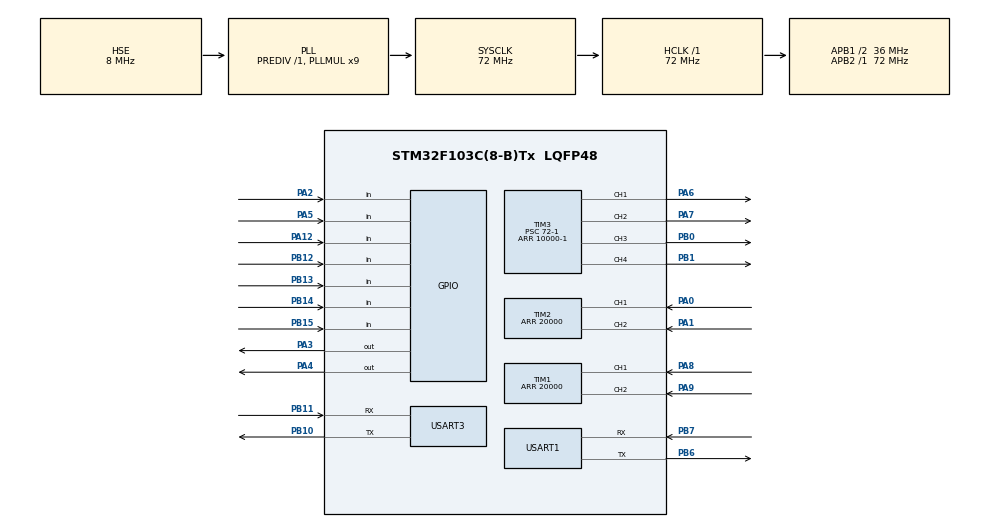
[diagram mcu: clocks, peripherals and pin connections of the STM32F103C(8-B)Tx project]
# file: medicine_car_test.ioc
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Dma.Request0=USART1_RX
Dma.Request1=USART3_RX
Dma.USART1_RX.0.Direction=DMA_PERIPH_TO_MEMORY
Dma.USART1_RX.0.Instance=DMA1_Channel5
Dma.USART1_RX.0.MemDataAlignment=DMA_MDATAALIGN_BYTE
Dma.USART1_RX.0.MemInc=DMA_MINC_ENABLE
Dma.USART1_RX.0.Mode=DMA_NORMAL
Dma.USART1_RX.0.PeriphDataAlignment=DMA_PDATAALIGN_BYTE
Dma.USART1_RX.0.PeriphInc=DMA_PINC_DISABLE
Dma.USART1_RX.0.Priority=DMA_PRIORITY_LOW
Dma.USART3_RX.1.Direction=DMA_PERIPH_TO_MEMORY
Dma.USART3_RX.1.Instance=DMA1_Channel3
Dma.USART3_RX.1.MemDataAlignment=DMA_MDATAALIGN_BYTE
Dma.USART3_RX.1.MemInc=DMA_MINC_ENABLE
Dma.USART3_RX.1.Mode=DMA_NORMAL
Dma.USART3_RX.1.PeriphDataAlignment=DMA_PDATAALIGN_BYTE
Dma.USART3_RX.1.PeriphInc=DMA_PINC_DISABLE
Dma.USART3_RX.1.Priority=DMA_PRIORITY_LOW
Mcu.Family=STM32F1
Mcu.Name=STM32F103C(8-B)Tx
Mcu.Package=LQFP48
NVIC.DMA1_Channel3_IRQn=true\:0\:0\:false\:false\:true\:true\:true
NVIC.DMA1_Channel5_IRQn=true\:0\:0\:false\:false\:true\:false\:true
NVIC.PriorityGroup=NVIC_PRIORITYGROUP_4
NVIC.TIM2_IRQn=true\:0\:0\:true\:false\:true\:true\:true
NVIC.TIM4_IRQn=true\:1\:0\:true\:false\:true\:true\:true
NVIC.USART1_IRQn=true\:0\:0\:true\:false\:true\:true\:true
NVIC.USART3_IRQn=true\:0\:0\:true\:false\:true\:true\:true
PA0-WKUP.GPIO_PuPd=GPIO_PULLUP
PA0-WKUP.Signal=S_TIM2_CH1_ETR
PA1.GPIO_PuPd=GPIO_PULLUP
PA1.Signal=S_TIM2_CH2
PA12.GPIO_PuPd=GPIO_PULLUP
PA12.Signal=GPIO_Input
PA13.Mode=Serial_Wire
PA13.Signal=SYS_JTMS-SWDIO
PA14.Mode=Serial_Wire
PA14.Signal=SYS_JTCK-SWCLK
PA2.Signal=GPIO_Input
PA3.Signal=GPIO_Output
PA4.Signal=GPIO_Output
PA5.Signal=GPIO_Input
PA6.Signal=S_TIM3_CH1
PA7.Signal=S_TIM3_CH2
PA8.GPIO_PuPd=GPIO_PULLUP
PA8.Signal=S_TIM1_CH1
PA9.GPIO_PuPd=GPIO_PULLUP
PA9.Signal=S_TIM1_CH2
PB0.Signal=S_TIM3_CH3
PB1.Signal=S_TIM3_CH4
PB10.Mode=Asynchronous
PB10.Signal=USART3_TX
PB11.Mode=Asynchronous
PB11.Signal=USART3_RX
PB12.Signal=GPIO_Input
PB13.Signal=GPIO_Input
PB14.Signal=GPIO_Input
PB15.Signal=GPIO_Input
PB6.Mode=Asynchronous
PB6.Signal=USART1_TX
PB7.Mode=Asynchronous
PB7.Signal=USART1_RX
PD0-OSC_IN.Mode=HSE-External-Oscillator
PD0-OSC_IN.Signal=RCC_OSC_IN
PD1-OSC_OUT.Mode=HSE-External-Oscillator
PD1-OSC_OUT.Signal=RCC_OSC_OUT
ProjectManager.HeapSize=0x200
ProjectManager.StackSize=0x400
ProjectManager.TargetToolchain=MDK-ARM V5.32
RCC.AHBFreq_Value=72000000
RCC.APB1CLKDivider=RCC_HCLK_DIV2
RCC.APB1Freq_Value=36000000
RCC.APB1TimFreq_Value=72000000
RCC.APB2Freq_Value=72000000
RCC.APB2TimFreq_Value=72000000
RCC.HCLKFreq_Value=72000000
RCC.PLLMUL=RCC_PLL_MUL9
RCC.PLLSourceVirtual=RCC_PLLSOURCE_HSE
RCC.SYSCLKFreq_VALUE=72000000
RCC.SYSCLKSource=RCC_SYSCLKSOURCE_PLLCLK
RCC.USBFreq_Value=72000000
SH.S_TIM1_CH1.0=TIM1_CH1,Encoder_Interface
SH.S_TIM1_CH2.0=TIM1_CH2,Encoder_Interface
SH.S_TIM2_CH1_ETR.0=TIM2_CH1,Encoder_Interface
SH.S_TIM2_CH2.0=TIM2_CH2,Encoder_Interface
SH.S_TIM3_CH1.0=TIM3_CH1,PWM Generation1 CH1
SH.S_TIM3_CH2.0=TIM3_CH2,PWM Generation2 CH2
SH.S_TIM3_CH3.0=TIM3_CH3,PWM Generation3 CH3
SH.S_TIM3_CH4.0=TIM3_CH4,PWM Generation4 CH4
TIM1.EncoderMode=TIM_ENCODERMODE_TI12
TIM1.Period=20000
TIM2.EncoderMode=TIM_ENCODERMODE_TI12
TIM2.Period=20000
TIM3.AutoReloadPreload=TIM_AUTORELOAD_PRELOAD_DISABLE
TIM3.Channel-PWM\ Generation1\ CH1=TIM_CHANNEL_1
TIM3.Channel-PWM\ Generation2\ CH2=TIM_CHANNEL_2
TIM3.Channel-PWM\ Generation3\ CH3=TIM_CHANNEL_3
TIM3.Channel-PWM\ Generation4\ CH4=TIM_CHANNEL_4
TIM3.Period=10000-1
TIM3.Prescaler=72-1
TIM4.Period=10000
TIM4.Prescaler=720-1
USART1.VirtualMode=VM_ASYNC
USART3.VirtualMode=VM_ASYNC
VP_TIM3_VS_ClockSourceINT.Mode=Internal
VP_TIM4_VS_ClockSourceINT.Mode=Internal
board=custom

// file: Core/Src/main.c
/* USER CODE BEGIN Header */
/**
 ******************************************************************************
 * @file           : main.c
 * @brief          : Main program body
 ******************************************************************************
 * @attention
 *
 * Copyright (c) 2024 STMicroelectronics.
 * All rights reserved.
 *
 * This software is licensed under terms that can be found in the LICENSE file
 * in the root directory of this software component.
 * If no LICENSE file comes with this software, it is provided AS-IS.
 *
 ******************************************************************************
 */
/* USER CODE END Header */
#include "main.h"
#include "dma.h"
#include "tim.h"
#include "usart.h"
#include "gpio.h"

/* USER CODE BEGIN Includes */
#include "encoder.h"
#include <stdio.h>
#include "pid.h"
#include "led.h"
#include "medicine.h"
#include "string.h"
/* USER CODE END Includes */

/* USER CODE BEGIN PM */
// Motor motor1;
/* USER CODE END PM */

/* USER CODE BEGIN PV */

float velocity_set = 1500;
Motor motor1, motor2;     // 左右电机
uint8_t receive_buff[50]; // 从树莓派（串�?1）接受的指令
uint8_t USART1_buffer[50];
uint8_t rx_buffer[50]; // 从陀螺仪（串�?3）接受的角度数据
uint8_t USART3_buffer[50];

float foward_distance = 0;
float left_angle = 0;
float back_angle = 0;
float right_angle = 0;
float Target_Angle = 0;
float error = 0;   // 巡线误差

int button_flag = 0;
int last_flag_button = 0;
int medicine_flag=0;
int last_flag=0;
uint32_t count;

char last_order = '0';
int s1, s2, s3, s4; // 灰度传感器参数

// 901S初始化指令
uint8_t data1[] = {0xFF, 0xAA, 0x69, 0x88, 0xB5};
uint8_t data2[] = {0xFF, 0xAA, 0x01, 0x04, 0x00};
uint8_t data3[] = {0xFF, 0xAA, 0x00, 0x00, 0x00};

/* USER CODE END PV */

void SystemClock_Config(void);

/* USER CODE BEGIN 0 */
int fputc(int ch, FILE *f) // printf
{
  HAL_UART_Transmit(&huart1, (uint8_t *)&ch, 1, 0xffff);
  return ch;
}

int fgetc(FILE *f) // getchar
{
  uint8_t ch = 0;
  HAL_UART_Receive(&huart1, &ch, 1, 0xffff);
  return ch;
}
/* USER CODE END 0 */

int main(void)
{

  /* MCU Configuration--------------------------------------------------------*/

  /* Reset of all peripherals, Initializes the Flash interface and the Systick. */
  HAL_Init();

  /* Configure the system clock */
  SystemClock_Config();

  /* Initialize all configured peripherals */
  MX_GPIO_Init();
  MX_TIM2_Init();
  MX_TIM3_Init();
  MX_TIM4_Init();
  MX_DMA_Init();
  MX_USART1_UART_Init();
  MX_USART3_UART_Init();
  MX_TIM1_Init();
  /* USER CODE BEGIN 2 */
  Motor_Init();
  PID_Init();
  HAL_Delay(500);
  DMA_USART_Init(&huart1);
  DMA_USART_Init(&huart3);
  HAL_Delay(500);
  // 初始化
  /* USER CODE END 2 */

  /* Infinite loop */
  /* USER CODE BEGIN WHILE */
  while (1)
  {
    // printf("OK");//测试串口

    // 启动按钮检测
    last_flag_button = button_flag;
    button_flag = HAL_GPIO_ReadPin(GPIOA, GPIO_PIN_12);
    if ((!button_flag) && last_flag_button)
    {
      printf("S");
    }

     if (USART3_buffer[0] != 0) // 接受到串口屏信号
    {
      buffer_hadle_USART3(USART3_buffer);
      memset(USART3_buffer, 0, 50);
    }
    // 接受树莓派指令，OKOK=亮灯，OFFF=灭灯，V=设置速度，L，R=左右转，B=掉头
    if (USART1_buffer[0] != 0) // 接受到信号
    {
      buffer_hadle_USART1(USART1_buffer);
      memset(USART1_buffer, 0, 50);
    }
    /* USER CODE END WHILE */

  }
}

void SystemClock_Config(void)
{
  RCC_OscInitTypeDef RCC_OscInitStruct = {0};
  RCC_ClkInitTypeDef RCC_ClkInitStruct = {0};

  /** Initializes the RCC Oscillators according to the specified parameters
   * in the RCC_OscInitTypeDef structure.
   */
  RCC_OscInitStruct.OscillatorType = RCC_OSCILLATORTYPE_HSE;
  RCC_OscInitStruct.HSEState = RCC_HSE_ON;
  RCC_OscInitStruct.HSEPredivValue = RCC_HSE_PREDIV_DIV1;
  RCC_OscInitStruct.HSIState = RCC_HSI_ON;
  RCC_OscInitStruct.PLL.PLLState = RCC_PLL_ON;
  RCC_OscInitStruct.PLL.PLLSource = RCC_PLLSOURCE_HSE;
  RCC_OscInitStruct.PLL.PLLMUL = RCC_PLL_MUL9;
  if (HAL_RCC_OscConfig(&RCC_OscInitStruct) != HAL_OK)
  {
    Error_Handler();
  }
  /** Initializes the CPU, AHB and APB buses clocks
   */
  RCC_ClkInitStruct.ClockType = RCC_CLOCKTYPE_HCLK | RCC_CLOCKTYPE_SYSCLK | RCC_CLOCKTYPE_PCLK1 | RCC_CLOCKTYPE_PCLK2;
  RCC_ClkInitStruct.SYSCLKSource = RCC_SYSCLKSOURCE_PLLCLK;
  RCC_ClkInitStruct.AHBCLKDivider = RCC_SYSCLK_DIV1;
  RCC_ClkInitStruct.APB1CLKDivider = RCC_HCLK_DIV2;
  RCC_ClkInitStruct.APB2CLKDivider = RCC_HCLK_DIV1;

  if (HAL_RCC_ClockConfig(&RCC_ClkInitStruct, FLASH_LATENCY_2) != HAL_OK)
  {
    Error_Handler();
  }
}

/* USER CODE BEGIN 4 */

/// @brief 串口1（树莓派或者电脑）信息处理
/// @param buffer
void buffer_hadle_USART1(uint8_t* buffer)
{
  if ((buffer[0] == 'N') && (buffer[1] == 'O') && (buffer[2] == 'N') && (buffer[3] == 'O')) // NONO
  {
    led2_off();
  }
  else if ((buffer[0] == 'R') && (buffer[1] == 'S') && (buffer[2] == 'E') && (buffer[3] == 'T')) // RSET
  {
    NVIC_SystemReset(); // 复位函数
  }
  else if ((buffer[0] == '9') && (buffer[1] == '0') && (buffer[2] == '1') && (buffer[3] == 'S')) // 901S角度初始化
  {
    HAL_UART_Transmit(&huart3, data1, sizeof(data1), 0xffff);
    HAL_Delay(200);
    HAL_UART_Transmit(&huart3, data2, sizeof(data2), 0xffff);
    HAL_Delay(3000);
    HAL_UART_Transmit(&huart3, data3, sizeof(data3), 0xffff);
    printf("9");
  }
  else if ((buffer[0] == 'O') && (buffer[1] == 'K') && (buffer[2] == 'O') && (buffer[3] == 'K')) // OKOK
  {
    led1_on();
    // printf("o");
  }
	else if ((buffer[0] == 'O') && (buffer[1] == 'F') && (buffer[2] == 'F') && (buffer[3] == 'F')) // OKOK
  {
    led1_off();
    // printf("o");
  }
  else if ((buffer[0] == 'G') && (buffer[1] == 'O') && (buffer[2] == 'O') && (buffer[3] == 'D')) // GOOD
  {
    led2_on();
  }
  else if ((buffer[0] == 'S') && (buffer[1] == 'T') && (buffer[2] == 'O') && (buffer[3] == 'P')) // OKOK
  {
    Target_Speed_1 = 0;
    Target_Speed_2 = 0;
    Target_Speed_fixed_2 = 0;
    Target_Speed_fixed_1 = 0;
    // printf("s");
  }

  else
  {
    switch (buffer[0])
    {
    case 'L': // 左转-
      if (buffer[1] == '+')
      {
        left_angle = (buffer[2] - '0') * 100 + (buffer[3] - '0')*10 + (buffer[4] - '0');
      }
      else if (receive_buff[1] == '-')
      {
        left_angle = -(buffer[2] - '0') * 100 - (buffer[3] - '0')*10 - (buffer[4] - '0');
      }
      Target_Angle += left_angle;
      last_order = 'L';
      break;

    case 'R': // 右转
      if (buffer[1] == '+')
      {
        right_angle = (buffer[2] - '0') * 100 + (buffer[3] - '0')*10 + (buffer[4] - '0');
      }
      else if (buffer[1] == '-')
      {
        right_angle = -(buffer[2] - '0') * 100 - (buffer[3] - '0')*10 - (buffer[4] - '0');
      }
      Target_Angle -= right_angle;
      last_order = 'R';
      break;

    case 'E': // 纠正
      if (buffer[1] == '+')
      {
        error = (buffer[2] - '0') * 100 + (buffer[3] - '0')*10 + (buffer[4] - '0');
        fix_error(error, 300);
      }
      else if (buffer[1] == '-')
      {
        error = (buffer[2] - '0') * 100 + (buffer[3] - '0')*10 + (buffer[4] - '0');
        fix_error(error, -300);
      }
      last_order = 'E';
      break;

    case 'V': // 前进
    //
      if (buffer[1] == '+')
      {
        velocity_set = (buffer[2] - '0') * 100 + (buffer[3] - '0')*10 + (buffer[4] - '0');
        Target_Speed_1 = velocity_set * 50;
        Target_Speed_2 = velocity_set * 50;
        Target_Speed_fixed_2 = 0;
        Target_Speed_fixed_1 = 0;
      }
      else if (buffer[1] == '-')
      {
        velocity_set = (buffer[2] - '0') * 100 + (buffer[3] - '0')*10 + (buffer[4] - '0');
        Target_Speed_1 = -velocity_set * 50;
        Target_Speed_2 = -velocity_set * 50;
        Target_Speed_fixed_2 = 0;
        Target_Speed_fixed_1 = 0;
      }
      last_order = 'V';
      break;
    }
  }
}

/// @brief 串口3信号处理（串口屏或陀螺仪）
/// @param buffer
void buffer_hadle_USART3(uint8_t* buffer)
{
  if ((buffer[0] == '1') && (buffer[1] == '1') && (buffer[2] == '1') && (buffer[3] == '1'))
  {
    printf("1");
  }
  if ((buffer[0] == '2') && (buffer[1] == '2') && (buffer[2] == '2') && (buffer[3] == '2'))
  {
    printf("2");
  }
  if ((buffer[0] == '3') && (buffer[1] == '3') && (buffer[2] == '3') && (buffer[3] == '3'))
  {
    printf("3");
  }
  if ((buffer[0] == '4') && (buffer[1] == '4') && (buffer[2] == '4') && (buffer[3] == '4'))
  {
    printf("4");
  }
  if ((buffer[0] == 'T') && (buffer[1] == 'E') && (buffer[2] == 'S') && (buffer[3] == 'T'))
  {
    printf("ERROR:%.2f",error);
  }
}
void DMA_USART_Init(UART_HandleTypeDef *huart)
{
  if (huart->Instance == USART1)
  {
    __HAL_UART_ENABLE_IT(huart, UART_IT_IDLE);
    HAL_UART_Receive_DMA(huart, receive_buff, 50);
  }

  if (huart->Instance == USART3)
  {
    __HAL_UART_ENABLE_IT(huart, UART_IT_IDLE);
    HAL_UART_Receive_DMA(huart, rx_buffer, 50);
  }
}

void USAR_UART_IDLECallback(UART_HandleTypeDef *huart)
{
  if (huart->Instance == USART1)
  {
    // 停止本次DMA传输
    HAL_UART_DMAStop(huart);

    // 计算接收到的数据长度
    uint8_t data_length = 50 - __HAL_DMA_GET_COUNTER(&hdma_usart1_rx);

    // 测试函数：将接收到的数据打印出去
    // printf("Receive Data(length = %d): ",data_length);
    //    HAL_UART_Transmit(huart,receive_Buff,data_length,0x200);
    // 把接收缓冲中的数据复制到处理缓冲中
    memcpy(USART1_buffer, receive_buff, 50);
     //printf("%s\r\n",receive_buff);

    // 清零接收缓冲区
    memset(receive_buff, 0, data_length);
    data_length = 0;

    // 重启开始DMA传输 每次255字节数据
    HAL_UART_Receive_DMA(huart, (uint8_t *)receive_buff, 50);
  }

  if (huart->Instance == USART3)
  {
    //    led_Big.LED_Flip();
    // 停止本次DMA传输
    HAL_UART_DMAStop(huart);

    // 计算接收到的数据长度
    uint8_t data_length = 50 - __HAL_DMA_GET_COUNTER(&hdma_usart3_rx);

    // 测试函数：将接收到的数据打印出去
     //printf("Receive Data(length = %d): ",data_length);
    //    HAL_UART_Transmit(huart,rx_buffer,data_length,0x200);
    // 把接收缓冲中的数据复制到处理缓冲中
    memcpy(USART3_buffer, rx_buffer, 50);
     //printf("%s",rx_buffer);

    // 清零接收缓冲区
    memset(rx_buffer, 0, data_length);
    data_length = 0;

    // 重启开始DMA传输 每次255字节数据
    HAL_UART_Receive_DMA(huart, (uint8_t *)rx_buffer, 50);
  }
}

/*
 * 蓝牙串口回调函数，需要放到stm32f4xx_it.c中
 */
void Bluetooth_UART_IRQHandler(UART_HandleTypeDef *huart)
{ // 判断是否是串口1
  if (huart->Instance == USART1)
  { // 判断是否是空闲中断
    if (RESET != __HAL_UART_GET_FLAG(huart, UART_FLAG_IDLE))
    { // 清除空闲中断标志（否则会一直不断进入中断）
      __HAL_UART_CLEAR_IDLEFLAG(huart);
      // 调用中断处理函数
      USAR_UART_IDLECallback(&huart1);
    }
  }

  if (huart->Instance == USART3)
  { // 判断是否是空闲中断
    if (RESET != __HAL_UART_GET_FLAG(huart, UART_FLAG_IDLE))
    { // 清除空闲中断标志（否则会一直不断进入中断）
      __HAL_UART_CLEAR_IDLEFLAG(huart);
      // 调用中断处理函数
      USAR_UART_IDLECallback(&huart3);
    }
  }
}
/* USER CODE END 4 */

void Error_Handler(void)
{
  __disable_irq();
  while (1)
  {
  }
}
